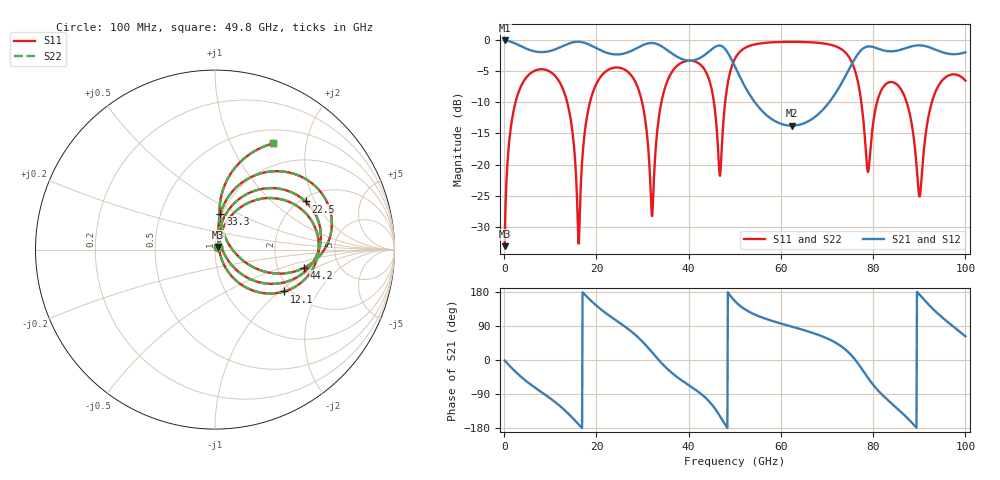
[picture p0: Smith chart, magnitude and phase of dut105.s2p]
! Touchstone file exported from HFSS 2026.1.0
!  File:  C:/ffzhzh/LocalFiles/Ansys_Project_Files/temp_train_TSV_RDL_105_1783456130_34316.aedt
!  Generated:  04:44:21 AM Jul  8, 2026
!  Design:  TSV_RDL
!  Project:  temp_train_TSV_RDL_105_1783456130_34316
! Variables:
!  h_bsmrdl = 2.83um
!  h_ox = 20um
!  h_rdl = 5um
!  h_sub = 95.05um
!  h_tmrdl = 3.99um
!  h_tsv = 95.05um
!  h_via = 3um
!  l_bsmrdl = 146.43um
!  l_sub = 3247.56um
!  l_tmrdl = 574.34um
!  m_sub = 200um
!  pitch = 59.66um
!  r_tsv = 12.71um
!  s_tmrdl = 10um
!  w_bsmrdl = 21.57um
!  w_sub = 500um
!  w_tmrdl = 15.4um
!  x_tsv_center1 = 582.04um
!  x_tsv_center2 = 750.04um
!  x_tsv_center3 = 1339.78um
!  x_tsv_center4 = 1507.78um
!  x_tsv_center5 = 2097.52um
!  x_tsv_center6 = 2265.52um
# GHz S MA R 50.000000
! Terminal data exported
! Port[1] = TM_RDL1_1_T1
! Port[2] = TM_RDL5_1_T1
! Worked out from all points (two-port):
!   1000 points, 100 MHz to 100 GHz, reference 50 ohm
!   highest |S21| = -0.15 dB at 100 MHz (marker M1); lowest = -13.8 dB at 62.4 GHz (marker M2)
!   |S21| within 3 dB of the highest: start of sweep to 38.66 GHz; 75.98 GHz to end of sweep (the widest 2 of 3)
!   lowest |S11| = -33.0 dB at 100 MHz (marker M3), VSWR 1.05, Z = 51.7 + j1.49 ohm
!   |S11| at or under -10 dB: 13.66 GHz to 18.62 GHz (4.954 GHz wide, 30.7 % of centre); 29.9 GHz to 34.1 GHz (4.195 GHz wide, 13.1 % of centre); 87.26 GHz to 92.73 GHz (5.473 GHz wide, 6.08 % of centre) (the widest 3 of 6)
!   |S22| runs from -33.0 to -0.4 dB; largest |S21 - S12| = 1.8e-12
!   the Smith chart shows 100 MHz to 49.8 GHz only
!   S11 on the Smith chart (normalised r, x): 100 MHz: 1.03, +0.03; 12.1 GHz: 1.85, -1.08; 22.5 GHz: 2.12, +1.69; 33.3 GHz: 0.98, +0.41; 44.2 GHz: 2.81, -0.77; 49.8 GHz: 0.68, +1.46
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0.1  0.02237 40.2  0.9832 -1.4  0.9832 -1.4  0.02237 40.2
! Gamma 0 0 0 0
! Port Impedance 50 0 50 0
3.3  0.3943 46.4  0.8973 -40.5  0.8973 -40.5  0.3943 46.4
12.1  0.4513 -31.1  0.8659 -121.4  0.8659 -121.4  0.4513 -31.1
16  0.03099 -33.0  0.9602 -168.1  0.9602 -168.1  0.03112 -32.9
16.8  0.09243 76.2  0.9543 -178.5  0.9543 -178.5  0.09243 76.1
22.5  0.5714 28.0  0.7788 119.7  0.7788 119.7  0.5714 28.0
29.1  0.4019 -28.0  0.866 59.1  0.866 59.1  0.402 -28.0
32  0.03972 5.4  0.9382 21.3  0.9382 21.3  0.03988 5.4
33.3  0.2021 81.3  0.9158 3.0  0.9158 3.0  0.2021 81.3
33.4  0.2171 80.7  0.9126 1.6  0.9126 1.6  0.2171 80.7
44.2  0.5057 -11.7  0.7904 -106.1  0.7904 -106.1  0.5057 -11.7
46.8  0.0816 32.7  0.8946 -148.4  0.8946 -148.4  0.08166 32.7
49.8  0.6739 61.4  0.6338 158.4  0.6338 158.4  0.6739 61.4
50.1  0.7097 58.0  0.601 154.5  0.601 154.5  0.7096 58.0
62.4  0.9583 -2.4  0.2051 87.9  0.2051 87.9  0.9582 -2.4
66.7  0.9496 -16.7  0.2311 72.3  0.2311 72.3  0.9495 -16.8
77.3  0.3436 -92.3  0.8155 -19.2  0.8155 -19.2  0.3425 -92.8
78.9  0.08757 -40.5  0.8803 -47.5  0.8803 -47.5  0.08416 -40.0
83.4  0.4549 -19.7  0.806 -108.0  0.806 -108.0  0.4549 -19.2
90.2  0.05852 8.2  0.8987 170.4  0.8987 170.4  0.06084 7.5
93.6  0.389 31.1  0.8273 127.3  0.8273 127.3  0.3892 30.9
100  0.4697 -24.3  0.7911 62.5  0.7911 62.5  0.4698 -24.5
